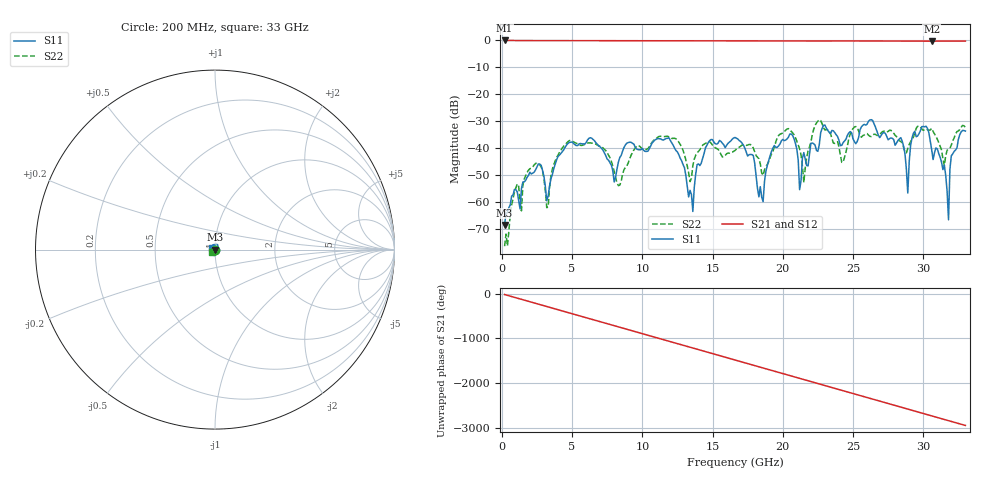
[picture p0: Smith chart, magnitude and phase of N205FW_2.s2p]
# GHZ S RI R 50
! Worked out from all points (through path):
!   329 points, 200 MHz to 33 GHz, reference 50 ohm
!   highest |S21| = -0.02 dB at 200 MHz (marker M1); lowest = -0.3 dB at 30.6 GHz (marker M2)
!   group delay of S21, straight-line fit = 248 ps
!   lowest |S11| = -68.4 dB at 200 MHz (marker M3), VSWR 1.00, Z = 50 - j6e-05 ohm
!   |S11| at or under -10 dB: start of sweep to end of sweep
!   |S22| runs from -76.3 to -29.4 dB; largest |S21 - S12| = 0.0022
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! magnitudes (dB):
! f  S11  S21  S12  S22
! 200 MHz  -68.4  0.0  0.0  -76.3
! 1.1 GHz  -56.1  0.0  0.0  -53.2
! 3.2 GHz  -59.4  -0.1  -0.1  -62.0
! 5.7 GHz  -38.3  -0.1  -0.1  -38.9
! 8.3 GHz  -45.1  -0.1  -0.1  -53.9
! 11.2 GHz  -36.5  -0.2  -0.2  -35.6
! 13.6 GHz  -63.4  -0.2  -0.2  -46.4
! 14.7 GHz  -37.8  -0.2  -0.2  -37.6
! 16.6 GHz  -36.0  -0.2  -0.2  -40.8
! 18.6 GHz  -59.7  -0.2  -0.2  -50.0
! 19.4 GHz  -39.0  -0.2  -0.2  -39.6
! 20.7 GHz  -35.2  -0.2  -0.2  -34.3
! 21.2 GHz  -55.3  -0.2  -0.2  -40.2
! 21.5 GHz  -41.6  -0.2  -0.2  -52.7
! 22.1 GHz  -38.1  -0.2  -0.2  -35.0
! 27.6 GHz  -36.4  -0.2  -0.2  -33.3
! 28.9 GHz  -56.6  -0.3  -0.3  -40.1
! 29.3 GHz  -34.4  -0.3  -0.3  -35.8
! 30.6 GHz  -40.5  -0.3  -0.3  -32.6
! 31.8 GHz  -66.5  -0.3  -0.3  -40.5
! 32 GHz  -42.7  -0.3  -0.3  -38.8
! 33 GHz  -33.6  -0.2  -0.2  -32.2
